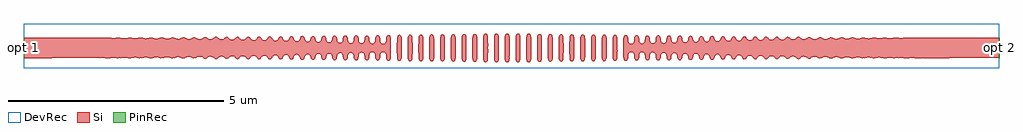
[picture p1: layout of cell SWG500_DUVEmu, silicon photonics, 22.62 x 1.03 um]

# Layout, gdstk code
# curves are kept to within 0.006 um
import gdstk
lib = gdstk.Library(unit=1e-6, precision=1e-09)
def R(c, l, rs):  # rectangles x0, y0, x1, y1
    for r in rs: c.add(gdstk.rectangle(r[:2], r[2:], *l))
def P(c, l, *ps):  # polygons
    for p in ps: c.add(gdstk.Polygon(p, *l))
Si = (1, 0)
PinRec = (1, 10)
DevRec = (68, 0)

swg500_duvemu = lib.new_cell('SWG500_DUVEmu')
P(swg500_duvemu, Si, [(-22.452,-45.109),(-22.482,-45.093),(-22.498,-45.065),(-22.517,-44.939),(-22.539,-44.912),(-22.564,-44.905),(-22.606,-44.909),(-22.633,-44.939),(-22.648,-45.049),(-22.673,-45.091),(-22.7,-45.103),(-22.728,-45.091),(-22.752,-45.049),(-22.768,-44.94),(-22.798,-44.913),(-22.825,-44.909),(-22.852,-44.913),(-22.88,-44.937),(-22.905,-45.062),(-22.927,-45.089),(-22.949,-45.097),(-22.973,-45.089),(-22.998,-45.056),(-23.009,-44.971),(-23.024,-44.936),(-23.045,-44.918),(-23.072,-44.915),(-23.099,-44.917),(-23.127,-44.939),(-23.138,-44.958),(-23.154,-45.063),(-23.176,-45.093),(-23.198,-45.101),(-23.227,-45.09),(-23.246,-45.063),(-23.267,-44.956),(-23.291,-44.93),(-23.319,-44.921),(-23.346,-44.924),(-23.374,-44.941),(-23.391,-44.98),(-23.404,-45.062),(-23.424,-45.088),(-23.446,-45.098),(-23.469,-45.093),(-23.487,-45.076),(-23.522,-44.953),(-23.564,-44.927),(-23.593,-44.929),(-23.621,-44.944),(-23.638,-44.978),(-23.659,-45.066),(-23.695,-45.093),(-23.718,-45.09),(-23.745,-45.061),(-23.763,-44.986),(-23.781,-44.956),(-23.81,-44.941),(-23.84,-44.94),(-23.868,-44.953),(-23.883,-44.974),(-23.908,-45.061),(-23.944,-45.089),(-23.967,-45.085),(-23.992,-45.061),(-24.029,-44.961),(-24.087,-44.944),(-24.128,-44.971),(-24.152,-45.045),(-24.181,-45.079),(-24.204,-45.083),(-24.229,-45.072),(-24.276,-44.974),(-24.304,-44.956),(-24.335,-44.956),(-24.359,-44.965),(-24.383,-44.992),(-24.417,-45.072),(-24.453,-45.087),(-24.488,-45.066),(-24.523,-44.986),(-24.576,-44.961),(-24.605,-44.967),(-24.631,-44.989),(-24.658,-45.052),(-24.678,-45.073),(-24.701,-45.079),(-24.737,-45.059),(-24.78,-44.985),(-24.825,-44.972),(-24.87,-44.985),(-24.914,-45.058),(-24.95,-45.076),(-24.985,-45.058),(-25.02,-45.002),(-25.046,-44.982),(-25.072,-44.979),(-25.098,-44.981),(-25.126,-44.997),(-25.165,-45.058),(-25.198,-45.077),(-25.233,-45.062),(-25.276,-45.002),(-25.294,-44.991),(-25.345,-44.987),(-25.384,-45.012),(-25.417,-45.057),(-25.447,-45.072),(-25.483,-45.057),(-25.516,-45.013),(-25.543,-44.995),(-25.591,-44.992),(-25.627,-45.008),(-25.672,-45.059),(-25.696,-45.069),(-25.733,-45.056),(-25.79,-45.002),(-25.815,-44.999),(-25.861,-45.002),(-25.944,-45.067),(-25.973,-45.06),(-26.018,-45.018),(-26.062,-45.001),(-26.108,-45.004),(-26.181,-45.06),(-26.204,-45.065),(-26.279,-45.016),(-26.308,-45.006),(-26.344,-45.008),(-26.453,-45.068),(-26.532,-45.018),(-26.578,-45.008),(-26.615,-45.015),(-26.677,-45.055),(-26.702,-45.061),(-26.78,-45.019),(-26.825,-45.009),(-26.87,-45.017),(-26.944,-45.053),(-27.074,-45.012),(-27.106,-45.016),(-27.192,-45.054),(-27.225,-45.051),(-27.32,-45.016),(-27.364,-45.022),(-27.447,-45.054),(-27.567,-45.02),(-27.611,-45.024),(-27.695,-45.053),(-27.815,-45.024),(-27.943,-45.051),(-28.084,-45.026),(-28.188,-45.05),(-28.309,-45.031),(-28.439,-45.048),(-28.588,-45.035),(-28.702,-45.05),(-28.826,-45.038),(-28.95,-45.048),(-29.055,-45.041),(-30.9,-45.047),(-30.9,-44.573),(-29.055,-44.579),(-28.95,-44.572),(-28.826,-44.582),(-28.702,-44.57),(-28.582,-44.585),(-28.439,-44.572),(-28.311,-44.589),(-28.183,-44.571),(-28.074,-44.594),(-27.943,-44.569),(-27.815,-44.596),(-27.694,-44.567),(-27.611,-44.596),(-27.568,-44.6),(-27.447,-44.566),(-27.364,-44.599),(-27.32,-44.604),(-27.199,-44.566),(-27.114,-44.601),(-27.074,-44.608),(-26.943,-44.567),(-26.875,-44.601),(-26.825,-44.611),(-26.78,-44.601),(-26.702,-44.559),(-26.626,-44.6),(-26.578,-44.612),(-26.527,-44.6),(-26.476,-44.561),(-26.447,-44.552),(-26.355,-44.611),(-26.286,-44.608),(-26.228,-44.565),(-26.198,-44.555),(-26.108,-44.615),(-26.062,-44.619),(-26.014,-44.6),(-25.967,-44.557),(-25.944,-44.553),(-25.861,-44.617),(-25.814,-44.621),(-25.79,-44.618),(-25.718,-44.554),(-25.696,-44.551),(-25.673,-44.562),(-25.623,-44.616),(-25.591,-44.629),(-25.542,-44.626),(-25.516,-44.608),(-25.48,-44.561),(-25.447,-44.548),(-25.42,-44.561),(-25.378,-44.615),(-25.332,-44.632),(-25.294,-44.629),(-25.271,-44.613),(-25.233,-44.558),(-25.198,-44.543),(-25.163,-44.564),(-25.126,-44.624),(-25.085,-44.641),(-25.039,-44.634),(-24.984,-44.561),(-24.949,-44.544),(-24.915,-44.562),(-24.88,-44.626),(-24.851,-44.646),(-24.826,-44.648),(-24.8,-44.647),(-24.775,-44.629),(-24.731,-44.555),(-24.701,-44.541),(-24.665,-44.559),(-24.634,-44.627),(-24.605,-44.653),(-24.578,-44.658),(-24.547,-44.653),(-24.523,-44.635),(-24.488,-44.554),(-24.447,-44.533),(-24.421,-44.544),(-24.406,-44.564),(-24.372,-44.647),(-24.32,-44.665),(-24.276,-44.646),(-24.239,-44.56),(-24.198,-44.536),(-24.162,-44.558),(-24.131,-44.643),(-24.114,-44.663),(-24.087,-44.675),(-24.057,-44.673),(-24.029,-44.657),(-23.991,-44.557),(-23.98,-44.543),(-23.949,-44.531),(-23.909,-44.557),(-23.885,-44.641),(-23.868,-44.668),(-23.825,-44.682),(-23.781,-44.666),(-23.766,-44.641),(-23.743,-44.556),(-23.718,-44.53),(-23.695,-44.527),(-23.659,-44.554),(-23.639,-44.638),(-23.621,-44.675),(-23.592,-44.69),(-23.564,-44.692),(-23.537,-44.682),(-23.519,-44.661),(-23.503,-44.576),(-23.481,-44.536),(-23.446,-44.522),(-23.424,-44.532),(-23.4,-44.569),(-23.389,-44.647),(-23.374,-44.677),(-23.346,-44.697),(-23.319,-44.698),(-23.281,-44.685),(-23.262,-44.65),(-23.251,-44.569),(-23.223,-44.527),(-23.198,-44.519),(-23.176,-44.528),(-23.153,-44.561),(-23.142,-44.645),(-23.127,-44.681),(-23.098,-44.702),(-23.072,-44.706),(-23.045,-44.701),(-23.022,-44.68),(-23.01,-44.656),(-22.998,-44.564),(-22.969,-44.528),(-22.949,-44.523),(-22.927,-44.531),(-22.907,-44.555),(-22.882,-44.679),(-22.853,-44.706),(-22.826,-44.711),(-22.798,-44.707),(-22.768,-44.68),(-22.745,-44.554),(-22.725,-44.526),(-22.701,-44.517),(-22.678,-44.523),(-22.649,-44.568),(-22.642,-44.654),(-22.629,-44.688),(-22.606,-44.712),(-22.578,-44.715),(-22.55,-44.714),(-22.522,-44.691),(-22.508,-44.654),(-22.497,-44.553),(-22.479,-44.524),(-22.446,-44.511),(-22.418,-44.526),(-22.396,-44.582),(-22.394,-44.922),(-22.4,-45.058),(-22.418,-45.094)],
  [(-16.954,-45.109),(-16.982,-45.093),(-17.004,-45.035),(-17.005,-44.59),(-16.98,-44.524),(-16.948,-44.511),(-16.921,-44.524),(-16.903,-44.553),(-16.886,-44.677),(-16.869,-44.701),(-16.835,-44.715),(-16.795,-44.711),(-16.767,-44.682),(-16.751,-44.568),(-16.73,-44.531),(-16.7,-44.517),(-16.675,-44.526),(-16.655,-44.554),(-16.632,-44.678),(-16.603,-44.706),(-16.577,-44.711),(-16.549,-44.707),(-16.52,-44.683),(-16.493,-44.555),(-16.473,-44.531),(-16.451,-44.523),(-16.431,-44.528),(-16.403,-44.563),(-16.378,-44.68),(-16.33,-44.706),(-16.302,-44.702),(-16.273,-44.681),(-16.261,-44.657),(-16.252,-44.571),(-16.223,-44.527),(-16.202,-44.519),(-16.18,-44.524),(-16.155,-44.555),(-16.127,-44.672),(-16.111,-44.691),(-16.083,-44.698),(-16.054,-44.697),(-16.027,-44.678),(-16.014,-44.659),(-15.994,-44.555),(-15.976,-44.532),(-15.954,-44.522),(-15.915,-44.541),(-15.896,-44.583),(-15.881,-44.661),(-15.865,-44.681),(-15.836,-44.692),(-15.807,-44.69),(-15.78,-44.675),(-15.761,-44.638),(-15.75,-44.57),(-15.728,-44.538),(-15.705,-44.527),(-15.683,-44.53),(-15.657,-44.555),(-15.634,-44.641),(-15.617,-44.667),(-15.591,-44.681),(-15.561,-44.681),(-15.531,-44.667),(-15.491,-44.557),(-15.468,-44.535),(-15.445,-44.531),(-15.409,-44.557),(-15.371,-44.658),(-15.315,-44.675),(-15.287,-44.664),(-15.267,-44.643),(-15.238,-44.558),(-15.197,-44.536),(-15.162,-44.558),(-15.122,-44.647),(-15.082,-44.665),(-15.04,-44.658),(-15.028,-44.647),(-14.983,-44.548),(-14.948,-44.533),(-14.913,-44.554),(-14.877,-44.634),(-14.85,-44.655),(-14.822,-44.658),(-14.782,-44.642),(-14.736,-44.559),(-14.699,-44.541),(-14.665,-44.559),(-14.63,-44.625),(-14.602,-44.646),(-14.584,-44.648),(-14.536,-44.639),(-14.483,-44.56),(-14.451,-44.544),(-14.417,-44.56),(-14.381,-44.618),(-14.354,-44.638),(-14.327,-44.64),(-14.303,-44.639),(-14.276,-44.624),(-14.237,-44.564),(-14.202,-44.543),(-14.167,-44.558),(-14.118,-44.621),(-14.057,-44.632),(-14.021,-44.615),(-13.98,-44.561),(-13.954,-44.548),(-13.92,-44.561),(-13.872,-44.616),(-13.835,-44.628),(-13.785,-44.622),(-13.727,-44.562),(-13.705,-44.551),(-13.682,-44.554),(-13.635,-44.601),(-13.587,-44.621),(-13.539,-44.618),(-13.456,-44.553),(-13.433,-44.556),(-13.363,-44.614),(-13.316,-44.619),(-13.27,-44.604),(-13.208,-44.556),(-13.185,-44.558),(-13.115,-44.608),(-13.091,-44.614),(-13.046,-44.611),(-12.971,-44.558),(-12.947,-44.552),(-12.868,-44.603),(-12.823,-44.611),(-12.777,-44.601),(-12.699,-44.559),(-12.619,-44.601),(-12.576,-44.611),(-12.525,-44.601),(-12.45,-44.566),(-12.327,-44.608),(-12.286,-44.601),(-12.195,-44.565),(-12.08,-44.604),(-12.037,-44.598),(-11.953,-44.566),(-11.832,-44.6),(-11.78,-44.593),(-11.706,-44.567),(-11.565,-44.597),(-11.457,-44.569),(-11.317,-44.594),(-11.21,-44.571),(-11.07,-44.59),(-10.962,-44.572),(-10.821,-44.586),(-10.698,-44.57),(-10.574,-44.582),(-10.45,-44.572),(-10.345,-44.579),(-8.3,-44.573),(-8.3,-45.047),(-10.354,-45.041),(-10.45,-45.048),(-10.574,-45.038),(-10.706,-45.05),(-10.822,-45.035),(-10.962,-45.048),(-11.08,-45.03),(-11.212,-45.05),(-11.317,-45.026),(-11.457,-45.051),(-11.565,-45.023),(-11.705,-45.053),(-11.832,-45.02),(-11.96,-45.053),(-12.037,-45.021),(-12.08,-45.016),(-12.195,-45.055),(-12.222,-45.051),(-12.283,-45.02),(-12.327,-45.012),(-12.45,-45.054),(-12.531,-45.017),(-12.576,-45.009),(-12.62,-45.019),(-12.699,-45.061),(-12.727,-45.053),(-12.785,-45.015),(-12.823,-45.008),(-12.868,-45.017),(-12.947,-45.068),(-12.971,-45.062),(-13.046,-45.009),(-13.115,-45.012),(-13.171,-45.054),(-13.202,-45.065),(-13.293,-45.004),(-13.339,-45.001),(-13.382,-45.018),(-13.433,-45.064),(-13.456,-45.067),(-13.539,-45.002),(-13.575,-44.998),(-13.61,-45.002),(-13.682,-45.066),(-13.705,-45.069),(-13.728,-45.059),(-13.786,-44.999),(-13.822,-44.992),(-13.864,-44.999),(-13.917,-45.057),(-13.954,-45.072),(-13.983,-45.057),(-14.027,-45.001),(-14.057,-44.987),(-14.106,-44.992),(-14.133,-45.012),(-14.167,-45.062),(-14.202,-45.077),(-14.235,-45.058),(-14.276,-44.996),(-14.327,-44.979),(-14.367,-44.991),(-14.416,-45.06),(-14.451,-45.076),(-14.481,-45.062),(-14.53,-44.985),(-14.548,-44.974),(-14.584,-44.972),(-14.62,-44.985),(-14.662,-45.059),(-14.699,-45.079),(-14.737,-45.059),(-14.769,-44.989),(-14.795,-44.966),(-14.83,-44.961),(-14.851,-44.966),(-14.879,-44.989),(-14.908,-45.06),(-14.948,-45.087),(-14.983,-45.072),(-15.016,-44.992),(-15.037,-44.965),(-15.067,-44.955),(-15.097,-44.956),(-15.116,-44.967),(-15.135,-44.992),(-15.16,-45.06),(-15.197,-45.084),(-15.231,-45.069),(-15.245,-45.051),(-15.271,-44.972),(-15.287,-44.954),(-15.315,-44.944),(-15.371,-44.961),(-15.409,-45.063),(-15.446,-45.089),(-15.48,-45.077),(-15.5,-45.046),(-15.517,-44.974),(-15.533,-44.953),(-15.562,-44.94),(-15.59,-44.941),(-15.619,-44.956),(-15.632,-44.974),(-15.658,-45.066),(-15.679,-45.088),(-15.705,-45.093),(-15.728,-45.082),(-15.744,-45.061),(-15.772,-44.953),(-15.807,-44.929),(-15.836,-44.927),(-15.878,-44.953),(-15.898,-45.048),(-15.913,-45.076),(-15.954,-45.098),(-15.976,-45.088),(-15.996,-45.062),(-16.017,-44.956),(-16.042,-44.929),(-16.083,-44.922),(-16.11,-44.929),(-16.133,-44.957),(-16.154,-45.063),(-16.18,-45.096),(-16.203,-45.101),(-16.224,-45.092),(-16.246,-45.063),(-16.259,-44.97),(-16.273,-44.939),(-16.301,-44.917),(-16.33,-44.915),(-16.356,-44.92),(-16.374,-44.935),(-16.388,-44.959),(-16.403,-45.057),(-16.427,-45.089),(-16.451,-45.097),(-16.473,-45.089),(-16.494,-45.062),(-16.521,-44.937),(-16.549,-44.914),(-16.576,-44.909),(-16.602,-44.913),(-16.632,-44.94),(-16.654,-45.064),(-16.678,-45.096),(-16.701,-45.103),(-16.728,-45.091),(-16.746,-45.063),(-16.767,-44.937),(-16.795,-44.91),(-16.821,-44.905),(-16.85,-44.906),(-16.878,-44.928),(-16.892,-44.961),(-16.902,-45.065),(-16.927,-45.101)],
  [(-22.203,-45.111),(-22.232,-45.093),(-22.253,-45.035),(-22.257,-44.737),(-22.248,-44.559),(-22.23,-44.524),(-22.192,-44.51),(-22.16,-44.537),(-22.146,-44.581),(-22.145,-45.02),(-22.156,-45.076),(-22.18,-45.106)],
  [(-21.954,-45.116),(-21.981,-45.101),(-22.003,-45.044),(-22.004,-44.581),(-21.983,-44.522),(-21.965,-44.506),(-21.944,-44.504),(-21.916,-44.522),(-21.895,-44.581),(-21.893,-44.913),(-21.9,-45.066),(-21.921,-45.105)],
  [(-21.7,-45.117),(-21.728,-45.105),(-21.752,-45.052),(-21.756,-44.721),(-21.751,-44.565),(-21.734,-44.522),(-21.695,-44.503),(-21.666,-44.522),(-21.646,-44.58),(-21.643,-44.913),(-21.65,-45.067),(-21.672,-45.106)],
  [(-21.457,-45.122),(-21.484,-45.103),(-21.503,-45.052),(-21.504,-44.588),(-21.486,-44.521),(-21.468,-44.503),(-21.446,-44.497),(-21.412,-44.521),(-21.397,-44.564),(-21.393,-44.913),(-21.4,-45.068),(-21.42,-45.11)],
  [(-21.197,-45.123),(-21.229,-45.11),(-21.247,-45.075),(-21.256,-44.913),(-21.252,-44.564),(-21.231,-44.513),(-21.197,-44.497),(-21.162,-44.521),(-21.149,-44.556),(-21.143,-44.703),(-21.147,-45.053),(-21.17,-45.11)],
  [(-20.948,-45.126),(-20.98,-45.11),(-21,-45.068),(-21.006,-44.913),(-21.002,-44.564),(-20.982,-44.513),(-20.948,-44.494),(-20.921,-44.508),(-20.901,-44.545),(-20.893,-44.703),(-20.896,-45.053),(-20.918,-45.111)],
  [(-20.7,-45.131),(-20.734,-45.111),(-20.747,-45.083),(-20.756,-44.913),(-20.753,-44.563),(-20.734,-44.51),(-20.7,-44.489),(-20.672,-44.501),(-20.653,-44.533),(-20.643,-44.703),(-20.646,-45.061),(-20.666,-45.112)],
  [(-20.452,-45.133),(-20.473,-45.125),(-20.498,-45.084),(-20.506,-44.913),(-20.503,-44.563),(-20.486,-44.51),(-20.452,-44.487),(-20.418,-44.503),(-20.402,-44.533),(-20.393,-44.703),(-20.397,-45.069),(-20.418,-45.117)],
  [(-20.203,-45.144),(-20.231,-45.129),(-20.253,-45.071),(-20.256,-44.685),(-20.252,-44.541),(-20.229,-44.489),(-20.197,-44.476),(-20.171,-44.489),(-20.148,-44.547),(-20.144,-44.922),(-20.15,-45.086),(-20.168,-45.129)],
  [(-19.954,-45.144),(-19.982,-45.129),(-20.003,-45.071),(-20.003,-44.57),(-19.989,-44.503),(-19.966,-44.478),(-19.943,-44.476),(-19.92,-44.489),(-19.896,-44.546),(-19.892,-44.897),(-19.9,-45.093),(-19.917,-45.129)],
  [(-19.706,-45.144),(-19.733,-45.129),(-19.754,-45.071),(-19.757,-44.712),(-19.75,-44.531),(-19.729,-44.489),(-19.694,-44.476),(-19.659,-44.504),(-19.646,-44.546),(-19.643,-44.896),(-19.651,-45.093),(-19.668,-45.129)],
  [(-19.457,-45.144),(-19.483,-45.129),(-19.504,-45.071),(-19.507,-44.712),(-19.5,-44.531),(-19.479,-44.489),(-19.446,-44.476),(-19.411,-44.503),(-19.398,-44.546),(-19.394,-44.914),(-19.4,-45.086),(-19.418,-45.129)],
  [(-19.198,-45.144),(-19.232,-45.129),(-19.254,-45.071),(-19.257,-44.737),(-19.248,-44.524),(-19.229,-44.489),(-19.197,-44.476),(-19.171,-44.489),(-19.149,-44.539),(-19.144,-44.931),(-19.15,-45.086),(-19.169,-45.129)],
  [(-18.949,-45.133),(-18.983,-45.117),(-18.999,-45.083),(-19.007,-44.931),(-19.005,-44.563),(-18.983,-44.503),(-18.949,-44.487),(-18.927,-44.495),(-18.903,-44.533),(-18.894,-44.703),(-18.897,-45.061),(-18.916,-45.113)],
  [(-18.7,-45.131),(-18.735,-45.112),(-18.752,-45.069),(-18.757,-44.913),(-18.754,-44.563),(-18.734,-44.507),(-18.7,-44.489),(-18.668,-44.506),(-18.652,-44.538),(-18.644,-44.703),(-18.649,-45.069),(-18.666,-45.111)],
  [(-18.451,-45.126),(-18.482,-45.111),(-18.499,-45.076),(-18.507,-44.913),(-18.503,-44.564),(-18.485,-44.515),(-18.451,-44.494),(-18.422,-44.508),(-18.404,-44.538),(-18.394,-44.703),(-18.397,-45.053),(-18.419,-45.111)],
  [(-18.203,-45.123),(-18.23,-45.11),(-18.251,-45.065),(-18.257,-44.913),(-18.254,-44.572),(-18.238,-44.521),(-18.203,-44.497),(-18.174,-44.508),(-18.156,-44.535),(-18.147,-44.572),(-18.144,-44.703),(-18.147,-45.052),(-18.169,-45.108)],
  [(-17.954,-45.122),(-17.98,-45.11),(-18.004,-45.053),(-18.007,-44.913),(-18.003,-44.564),(-17.988,-44.521),(-17.954,-44.497),(-17.932,-44.502),(-17.906,-44.535),(-17.897,-44.572),(-17.894,-44.703),(-17.897,-45.052),(-17.921,-45.11)],
  [(-17.706,-45.116),(-17.732,-45.101),(-17.753,-45.052),(-17.757,-44.721),(-17.749,-44.551),(-17.728,-44.515),(-17.7,-44.503),(-17.667,-44.522),(-17.646,-44.58),(-17.644,-44.913),(-17.651,-45.066),(-17.672,-45.105)],
  [(-17.457,-45.116),(-17.486,-45.095),(-17.504,-45.044),(-17.505,-44.581),(-17.485,-44.522),(-17.446,-44.504),(-17.417,-44.522),(-17.396,-44.58),(-17.394,-44.896),(-17.401,-45.066),(-17.426,-45.108)],
  [(-17.203,-45.111),(-17.233,-45.093),(-17.252,-45.051),(-17.257,-44.712),(-17.251,-44.566),(-17.231,-44.524),(-17.197,-44.51),(-17.17,-44.524),(-17.148,-44.575),(-17.143,-44.887),(-17.153,-45.066),(-17.175,-45.101)])
R(swg500_duvemu, DevRec, [(-30.9,-45.28,-8.3,-44.25)])
swg500_duvemu.add(gdstk.FlexPath([(-8.31,-44.81),(-8.29,-44.81)], 0.472, ends="flush", simple_path=True, layer=1, datatype=10))  # PinRec
swg500_duvemu.add(gdstk.FlexPath([(-30.89,-44.81),(-30.91,-44.81)], 0.472, ends="flush", simple_path=True, layer=1, datatype=10))  # PinRec
swg500_duvemu.add(gdstk.Label('opt 2', (-8.3,-44.81), layer=1, texttype=10))
swg500_duvemu.add(gdstk.Label('opt 1', (-30.9,-44.81), layer=1, texttype=10))

lib.write_gds('SWG500_DUVEmu.gds')
